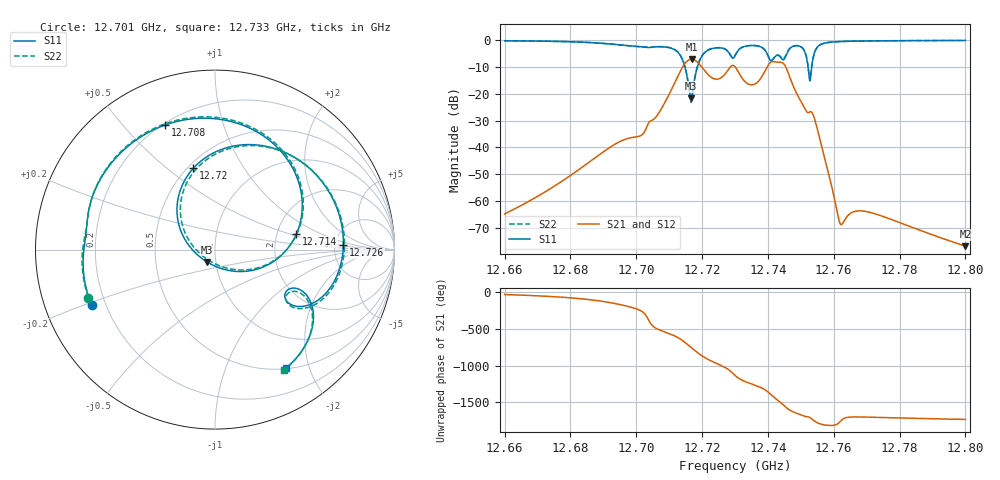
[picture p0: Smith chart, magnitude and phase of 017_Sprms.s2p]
! TOUCHSTONE file generated by CST MICROWAVE STUDIO
! Date and time: Wed Jul 31 11:27:45 2024
! Project name: WaveGuide_BPF-Ver4.1_U-shape_Ku_T3_C4_CWA_2.cst
! Parameters = {cavity_h=16; cavity_l0=10; cavity_l1=15.23; cavity_l2=16.8809; cavity_l3=17.0789; cavity_l4=17.2727; cavity_l5=17.1092; cavity_l6=17.6258; cavity_r=2.5; cavity_screw_l=0.5; cavity_screw_r=1.5; cavity_w=8; iris_h00=0; iris_h01=8.8296; iris_h112=0; iris_h12=5.6113; iris_h211=3.6589; ir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
! Header version: 2018
! Port assignment regex: !\s*Touchstone port\s*([0-9]+)\s*=\s*(CST MWS port|CST DS port)\s*([0-9]+|Zmin|Zmax)\s*\(\"(.*)\"\)(\s*mode\s*([0-9]+))?.*
! Touchstone port assignment:
! Touchstone port 1 = CST MWS port 1 ("")
! Touchstone port 2 = CST MWS port 2 ("")
# GHz S RI R 50
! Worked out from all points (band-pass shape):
!   5001 points, 12.66 GHz to 12.8 GHz, reference 50 ohm
!   highest |S21| = -7.15 dB at 12.717 GHz (marker M1); lowest = -76.8 dB at 12.8 GHz (marker M2)
!   |S21| within 3 dB of the highest: 12.71402 GHz to 12.71996 GHz (5.947 MHz wide, 0.0468 % of centre); 12.7397 GHz to 12.74548 GHz (5.775 MHz wide, 0.0453 % of centre)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
!   lowest |S11| = -21.8 dB at 12.717 GHz (marker M3), VSWR 1.18, Z = 45.4 - j6.32 ohm
!   |S11| at or under -10 dB: 12.71478 GHz to 12.71857 GHz (3.795 MHz wide, 0.0298 % of centre); 12.75218 GHz to 12.75329 GHz (1.107 MHz wide, 0.00868 % of centre)
!   |S22| runs from -23.2 to -0.1 dB; largest |S21 - S12| = 1e-09
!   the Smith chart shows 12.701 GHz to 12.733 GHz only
!   S11 on the Smith chart (normalised r, x): 12.701 GHz: 0.15, -0.21; 12.708 GHz: 0.21, +0.66; 12.714 GHz: 2.57, +0.57; 12.72 GHz: 0.53, +0.62; 12.726 GHz: 5.97, +0.60; 12.733 GHz: 0.51, -1.65
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12.66  0.5205 0.8211  0.000458 -0.00035  0.000458 -0.00035  0.5258 0.8176
12.68335  0.9159 0.0416  -0.000374 -0.00417  -0.000374 -0.00417  0.9154 0.0269
12.69508  0.187 -0.791  -0.0128 -0.00147  -0.0128 -0.00147  0.152 -0.7956
12.70147  -0.688 -0.3081  -0.00319 0.0164  -0.00319 0.0164  -0.7053 -0.2681
12.70668  -0.5176 0.5466  -0.0364 -0.0214  -0.0364 -0.0214  -0.4969 0.5715
12.70819  -0.2784 0.6941  -0.0603 -0.00442  -0.0603 -0.00442  -0.2562 0.7082
12.71382  0.4539 0.0878  0.1201 0.2701  0.1201 0.2701  0.4605 0.0967
12.71664  -0.0435 -0.0692  0.3646 -0.2433  0.3646 -0.2433  -0.0378 -0.0575
12.71681  -0.0679 -0.0529  0.3364 -0.2818  0.3364 -0.2818  -0.0624 -0.0401
12.71967  -0.1201 0.4537  -0.2483 -0.2136  -0.2483 -0.2136  -0.0858 0.4687
12.7256  0.7153 0.0243  0.0184 0.1951  0.0184 0.1951  0.7209 0.0022
12.73  0.4582 -0.2174  0.1832 -0.2613  0.1832 -0.2613  0.4612 -0.236
12.73322  0.3954 -0.6604  -0.1254 -0.1063  -0.1254 -0.1063  0.3859 -0.6702
12.74028  -0.2986 -0.3629  0.1106 0.3372  0.1106 0.3372  -0.3008 -0.3698
12.74425  -0.2258 -0.3821  0.0943 -0.3705  0.0943 -0.3705  -0.2315 -0.4002
12.7473  -0.3667 -0.6516  -0.1595 0.00185  -0.1595 0.00185  -0.3856 -0.6492
12.75036  -0.6491 -0.3145  -0.0383 0.0546  -0.0383 0.0546  -0.6585 -0.3135
12.75335  -0.0355 -0.3373  0.0124 0.0433  0.0124 0.0433  -0.0444 -0.3204
12.75554  -0.3898 -0.6903  0.0159 0.0039  0.0159 0.0039  -0.395 -0.6845
12.76203  -0.8384 -0.4253  0.000269 0.000258  0.000269 0.000258  -0.8428 -0.4172
12.77668  -0.9722 0.0251  -1.16e-05 0.000474  -1.16e-05 0.000474  -0.9721 0.0327
12.8  -0.905 0.3892  5.11e-05 0.000135  5.11e-05 0.000135  -0.9025 0.3951
